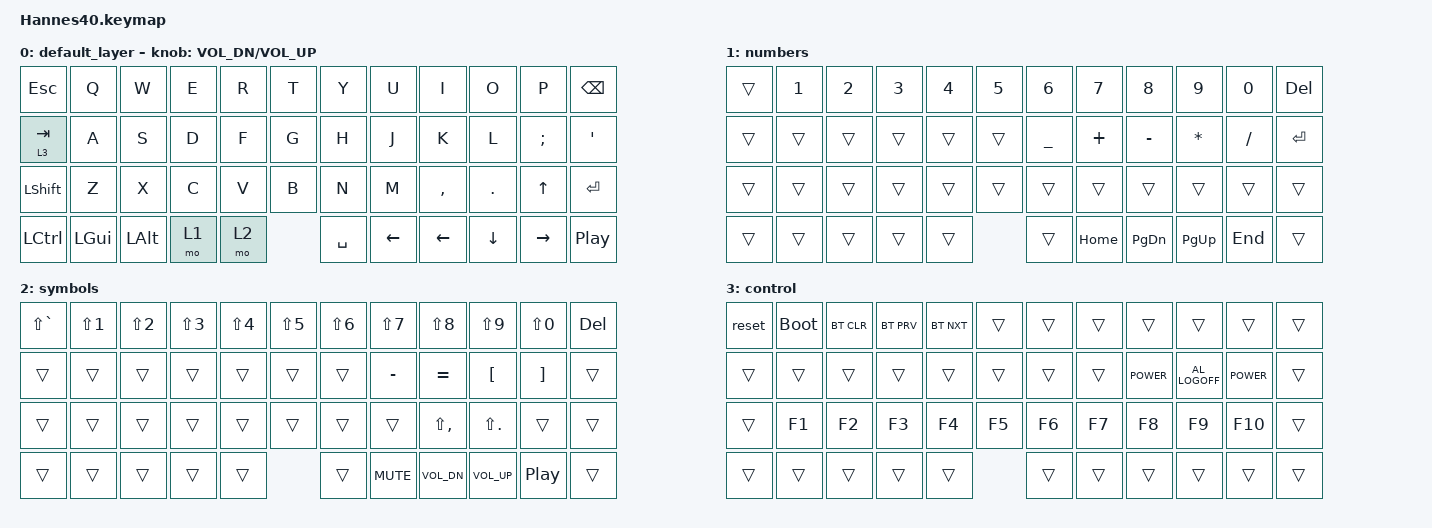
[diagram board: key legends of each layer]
#include <behaviors.dtsi>
#include <dt-bindings/zmk/keys.h>
#include <dt-bindings/zmk/bt.h>
#include <dt-bindings/zmk/ext_power.h>
#include <dt-bindings/zmk/outputs.h>

/ {
    keymap {
        compatible = "zmk,keymap";

        default_layer {
// --------------------------------------------------------------------------------------------------------------------------------------------------------------------
// |   ESC   |    Q    |    W    |    E    |    R    |    T    |                                          |    Y    |    U    |    I    |    O    |    P    |    \    |
// |   TAB   |    A    |    S    |    D    |    F    |    G    |                                          |    H    |    J    |    K    |    L    |    ;    |    '    |
// |  SHIFT  |    Z    |    X    |    C    |    V    |    B    | CTRL+A  | CTRL+C  |  |  CTRL+V |  CTRL+X |    N    |    M    |    ,    |    .    |    /    |  R CTRL |
//                               |   GUI   |   DEL   | RETURN  |  SPACE  | ESCAPE  |  |  RETURN |  SPACE  |   TAB   |   BSPC  |  R ALT  |
            bindings = <
				&kp ESC    &kp Q    &kp W    &kp E    &kp R &kp T  &kp Y   &kp U    &kp I     &kp O    &kp P     &kp BSPC
				&lt 3 TAB &kp A    &kp S    &kp D    &kp F &kp G  &kp H   &kp J    &kp K     &kp L    &kp SCLN  &kp QUOT
				&kp LSHFT  &kp Z    &kp X    &kp C    &kp V &kp B  &kp N   &kp M    &kp COMMA &kp DOT  &kp UP    &kp RET
				&kp LCTL   &kp LGUI &kp LALT &mo 1    &mo 2  	  &kp SPC &kp LEFT &kp LEFT  &kp DOWN &kp RIGHT &kp C_PP
            >;

            sensor-bindings = <&inc_dec_kp C_VOL_DN C_VOL_UP>;
        };
		numbers {
			bindings = <                                                                                                                     
				&trans  &kp N1 &kp N2 &kp N3 &kp N4 &kp N5 &kp N6    &kp N7    &kp N8     &kp N9     &kp N0   &kp DEL
				&trans  &trans &trans &trans &trans &trans &kp UNDER &kp PLUS  &kp MINUS  &kp ASTRK  &kp FSLH &kp RET
				&trans  &trans &trans &trans &trans &trans &trans    &trans    &trans     &trans     &trans   &trans
				&trans  &trans &trans &trans &trans 	   &trans    &kp HOME  &kp PG_DN  &kp PG_UP  &kp END  &trans
			>;
		};

        symbols {
			bindings = <
				&kp LS(GRAVE) &kp LS(N1) &kp LS(N2) &kp LS(N3) &kp LS(N4) &kp LS(N5) &kp LS(N6) &kp LS(N7)  &kp LS(N8)    &kp LS(N9)   &kp LS(N0) &kp DEL
				&trans        &trans 	 &trans     &trans     &trans     &trans     &trans     &kp MINUS   &kp EQUAL     &kp LBKT     &kp RBKT   &trans
				&trans        &trans     &trans     &trans     &trans     &trans     &trans     &trans      &kp LS(COMMA) &kp LS(DOT)  &trans     &trans
				&trans        &trans     &trans     &trans     &trans     		     &trans     &kp C_MUTE  &kp C_VOL_DN  &kp C_VOL_UP &kp C_PP   &trans
			>;
		};

		control {
			bindings = <
				&reset &bootloader &bt BT_CLR &bt BT_PRV &bt BT_NXT &trans  &trans  &trans  &trans      &trans          &trans      &trans
				&trans &trans 	   &trans     &trans     &trans     &trans  &trans  &trans  &kp C_POWER &kp C_AL_LOGOFF &kp K_POWER &trans
				&trans &kp F1      &kp F2     &kp F3     &kp F4     &kp F5  &kp F6  &kp F7  &kp F8      &kp F9          &kp F10     &trans
				&trans &trans      &trans     &trans     &trans     	    &trans  &trans  &trans      &trans          &trans      &trans
			>;
		};
    };
};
